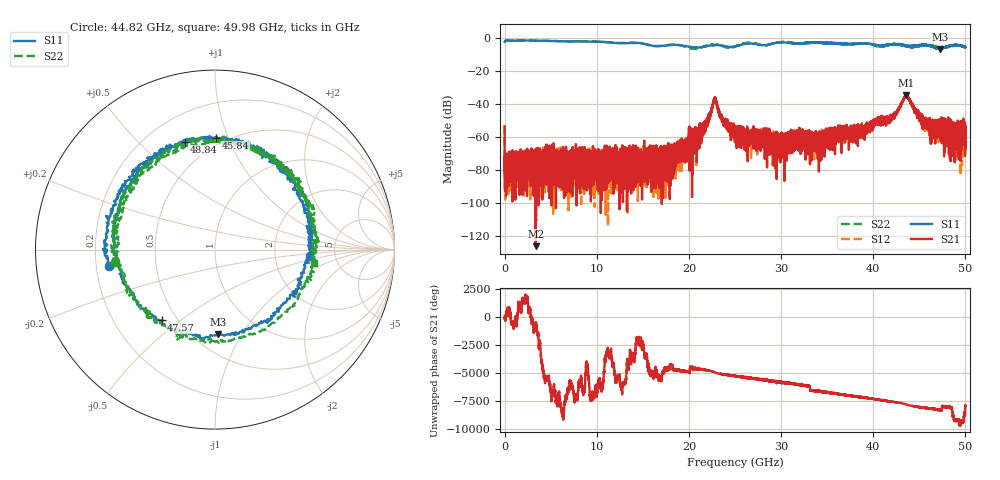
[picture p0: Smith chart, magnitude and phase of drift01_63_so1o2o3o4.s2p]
!Created with skrf (http://scikit-rf.org).
# Hz S RI R 50.0
!freq ReS11 ImS11 ReS21 ImS21 ReS12 ImS12 ReS22 ImS22
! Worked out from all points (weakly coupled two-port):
!   10001 points, 300 kHz to 50 GHz, reference 50 ohm
!   highest |S21| = -34.73 dB at 43.53 GHz (marker M1); lowest = -126.2 dB at 3.37 GHz (marker M2)
!   lowest |S11| = -6.5 dB at 47.28 GHz (marker M3), VSWR 2.79, Z = 32.6 - j39.7 ohm
!   |S11| at or under -10 dB: nowhere
!   |S22| runs from -6.4 to -1.4 dB; largest |S21 - S12| = 0.0035
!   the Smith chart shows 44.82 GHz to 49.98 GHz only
!   S11 on the Smith chart (normalised r, x): 44.82 GHz: 0.25, -0.07; 45.84 GHz: 0.44, +0.90; 47.57 GHz: 0.41, -0.43; 48.84 GHz: 0.35, +0.69; 49.98 GHz: 3.17, -0.38
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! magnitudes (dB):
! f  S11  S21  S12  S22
! 300 kHz  -2.2  -53.6  -52.7  -2.1
! 260.3 MHz  -1.4  -73.4  -75.0  -1.4
! 3.37 GHz  -1.5  -126.2  -73.1  -1.5
! 8.335 GHz  -1.9  -69.8  -74.6  -1.8
! 16.67 GHz  -4.8  -77.3  -77.6  -4.8
! 20.89 GHz  -5.6  -60.1  -58.8  -6.2
! 21.88 GHz  -4.9  -50.1  -51.3  -4.5
! 22.8 GHz  -4.3  -36.2  -36.6  -4.0
! 23.69 GHz  -4.6  -48.6  -49.8  -4.8
! 25 GHz  -5.0  -55.8  -56.4  -5.0
! 29.52 GHz  -2.8  -66.2  -61.5  -2.6
! 33.34 GHz  -2.6  -58.2  -63.1  -2.7
! 38.65 GHz  -3.3  -57.2  -56.2  -3.1
! 41.67 GHz  -3.8  -50.6  -49.8  -4.1
! 43.53 GHz  -4.5  -34.7  -35.3  -4.7
! 44.82 GHz  -4.5  -47.7  -47.5  -5.0
! 45.84 GHz  -4.1  -51.8  -52.2  -4.3
! 47.28 GHz  -6.5  -50.9  -53.2  -5.8
! 47.57 GHz  -6.1  -51.1  -58.8  -6.1
! 48.84 GHz  -4.1  -75.3  -61.8  -4.4
! 49.98 GHz  -5.6  -54.1  -54.2  -5.1
! 50 GHz  -5.5  -60.4  -61.1  -5.2
